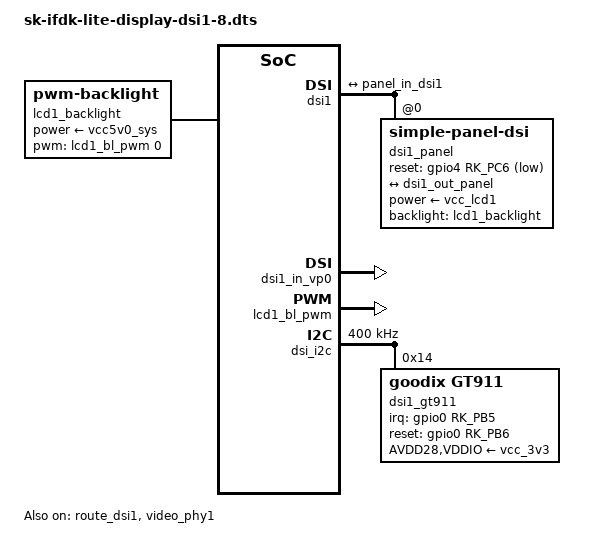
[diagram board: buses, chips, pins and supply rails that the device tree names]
// SPDX-License-Identifier: (GPL-2.0+ OR MIT)
/*
* Copyright (c) 2025 Sergey Kharenko
*/

/dts-v1/;
/plugin/;

#include <dt-bindings/display/drm_mipi_dsi.h>
#include <dt-bindings/display/rockchip_vop.h>
#include <dt-bindings/interrupt-controller/irq.h>
#include <dt-bindings/gpio/gpio.h>
#include <dt-bindings/pinctrl/rockchip.h>

/ {
	metadata {
		title ="Enable SK IFDK Lite Display 8 with Touchpad";
		compatible = "sk,ifdk-lite";
		category = "display";
		exclusive = "dsi1";
		description = "Enable SK IFDK Lite Display 8 with Touchpad.";
	};

    fragment@0 {
		target-path = "/";

        __overlay__ {
            lcd1_backlight: lcd1-backlight {
                compatible = "pwm-backlight";
                brightness-levels = <
                    0  20  20  21  21  22  22  23
                    23  24  24  25  25  26  26  27
                    27  28  28  29  29  30  30  31
                    31  32  32  33  33  34  34  35
                    35  36  36  37  37  38  38  39
                    40  41  42  43  44  45  46  47
                    48  49  50  51  52  53  54  55
                    56  57  58  59  60  61  62  63
                    64  65  66  67  68  69  70  71
                    72  73  74  75  76  77  78  79
                    80  81  82  83  84  85  86  87
                    88  89  90  91  92  93  94  95
                    96  97  98  99 100 101 102 103
                    104 105 106 107 108 109 110 111
                    112 113 114 115 116 117 118 119
                    120 121 122 123 124 125 126 127
                    128 129 130 131 132 133 134 135
                    136 137 138 139 140 141 142 143
                    144 145 146 147 148 149 150 151
                    152 153 154 155 156 157 158 159
                    160 161 162 163 164 165 166 167
                    168 169 170 171 172 173 174 175
                    176 177 178 179 180 181 182 183
                    184 185 186 187 188 189 190 191
                    192 193 194 195 196 197 198 199
                    200 201 202 203 204 205 206 207
                    208 209 210 211 212 213 214 215
                    216 217 218 219 220 221 222 223
                    224 225 226 227 228 229 230 231
                    232 233 234 235 236 237 238 239
                    240 241 242 243 244 245 246 247
                    248 249 250 251 252 253 254 255
                >;
                default-brightness-level = <200>;
                power-supply = <&vcc5v0_sys>;
                pwms = <&lcd1_bl_pwm 0 20000 0>;
            };
        };
    };

    fragment@1 {
        target = <&dsi1>;

        __overlay__ {
            status = "okay";
            #address-cells = <1>;
			#size-cells = <0>;

            dsi1_panel: main-panel@0 {
                compatible = "simple-panel-dsi";
                reg = <0>;
                rotation = <270>;
                power-supply = <&vcc_lcd1>;
                backlight = <&lcd1_backlight>;
                pinctrl-names = "default";
                pinctrl-0 = <&lcd1_rst>;
                reset-gpios = <&gpio4 RK_PC6 GPIO_ACTIVE_LOW>;
                panel-name = "AML08012001920-01";
                reset-delay-ms = <20>;
                enable-delay-ms = <10>;
                prepare-delay-ms = <10>;
                unprepare-delay-ms = <10>;
                disable-delay-ms = <60>;
                init-delay-ms = <200>;
                dsi,flags = <(MIPI_DSI_MODE_VIDEO | MIPI_DSI_MODE_VIDEO_BURST |
                        MIPI_DSI_MODE_LPM | MIPI_DSI_MODE_NO_EOT_PACKET)>;
                dsi,format = <MIPI_DSI_FMT_RGB888>;
                dsi,lanes  = <4>;
                panel-init-sequence = [
                    05 0A 01 10

                    13 00 02 B0 05
                    13 00 02 B3 52
                    13 00 02 B0 01
                    13 00 02 C8 00
                    13 00 02 C9 00
                    13 00 02 CC 26
                    13 00 02 CD 26
                    13 00 02 DC 00
                    13 00 02 DD 00
                    13 00 02 E0 26
                    13 00 02 E1 26
                    13 00 02 B0 03 
                    13 00 02 C3 2A 
                    13 00 02 E7 2A 
                    13 00 02 C5 2A 
                    13 00 02 DE 2A 
                    13 00 02 B0 00
                    13 00 02 B6 03
                    13 00 02 BA 87
                    13 00 02 BD 78
                    13 00 02 BF 15
                    13 00 02 C0 12 
                    13 00 02 C2 0C 
                    13 00 02 C3 02 
                    13 00 02 C4 0C 
                    13 00 02 C5 02
                    13 00 02 B0 06 
                    13 00 02 C0 A5 
                    13 00 02 D5 20
                    13 00 02 C0 00
                    13 00 02 B0 02
                    13 00 02 C0 00
                    13 00 02 C1 02
                    13 00 02 C2 06
                    13 00 02 C3 16 
                    13 00 02 C4 0e 
                    13 00 02 C5 18
                    13 00 02 C6 26
                    13 00 02 C7 32 
                    13 00 02 C8 3F 
                    13 00 02 C9 3F 
                    13 00 02 CA 3F 
                    13 00 02 CB 3F 
                    13 00 02 CC 3D 
                    13 00 02 CD 2F 
                    13 00 02 CE 2F 
                    13 00 02 CF 2F 
                    13 00 02 D0 07
                    13 00 02 D2 00
                    13 00 02 D3 02
                    13 00 02 D4 06

                    13 00 02 D5 12
                    13 00 02 D6 0A
                    13 00 02 D7 14
                    13 00 02 D8 22
                    13 00 02 D9 2E
                    13 00 02 DA 3D
                    13 00 02 DB 3F
                    13 00 02 DC 3F
                    13 00 02 DD 3F
                    13 00 02 DE 3D
                    13 00 02 DF 2F
                    13 00 02 E0 2F
                    13 00 02 E1 2F
                    13 00 02 E2 07
                    13 00 02 B0 07
                    13 00 02 B1 00
                    13 00 02 B2 19
                    13 00 02 B3 31
                    13 00 02 B4 5A
                    13 00 02 B5 7C
                    13 00 02 B6 9C
                    13 00 02 B7 D3
                    13 00 02 B8 0E
                    13 00 02 B9 7D
                    13 00 02 BA E0
                    13 00 02 BB 7A
                    13 00 02 BC E6
                    13 00 02 BD E9
                    13 00 02 BE 41
                    13 00 02 BF 91
                    13 00 02 C0 B0
                    13 00 02 C1 CF
                    13 00 02 C2 DC
                    13 00 02 C3 E9
                    13 00 02 C4 EF
                    13 00 02 C5 F5
                    13 00 02 C6 FA
                    13 00 02 C7 FB
                    13 00 02 C8 FC
                    13 00 02 C9 00
                    13 00 02 CA 01
                    13 00 02 CB 5A
                    13 00 02 CC BF
                    13 00 02 CD FF
                    13 00 02 CE FF
                    13 00 02 B0 08
                    13 00 02 B1 00
                    13 00 02 B2 19
                    13 00 02 B3 31
                    13 00 02 B4 5A
                    13 00 02 B5 7C
                    13 00 02 B6 9C
                    13 00 02 B7 D3

                    13 00 02 B8 0E
                    13 00 02 B9 7D
                    13 00 02 BA E0
                    13 00 02 BB 7A
                    13 00 02 BC E6
                    13 00 02 BD E9
                    13 00 02 BE 41
                    13 00 02 BF 91
                    13 00 02 C0 B0
                    13 00 02 C1 CF
                    13 00 02 C2 DC
                    13 00 02 C3 E9
                    13 00 02 C4 EF
                    13 00 02 C5 F5
                    13 00 02 C6 FA
                    13 00 02 C7 FB
                    13 00 02 C8 FC
                    13 00 02 C9 00
                    13 00 02 CA 01
                    13 00 02 CB 5A
                    13 00 02 CC BF
                    13 00 02 CD FF
                    13 00 02 CE FF
                    13 00 02 B0 09
                    13 00 02 B1 00
                    13 00 02 B2 19
                    13 00 02 B3 31
                    13 00 02 B4 5A
                    13 00 02 B5 7C
                    13 00 02 B6 9C
                    13 00 02 B7 D3
                    13 00 02 B8 0E
                    13 00 02 B9 7D
                    13 00 02 BA E0
                    13 00 02 BB 7A
                    13 00 02 BC E6
                    13 00 02 BD E9
                    13 00 02 BE 41
                    13 00 02 BF 91
                    13 00 02 C0 B0
                    13 00 02 C1 CF
                    13 00 02 C2 DC
                    13 00 02 C3 E9
                    13 00 02 C4 EF
                    13 00 02 C5 F5
                    13 00 02 C6 FA
                    13 00 02 C7 FB
                    13 00 02 C8 FC
                    13 00 02 C9 00
                    13 00 02 CA 01
                    13 00 02 CB 5A
                    13 00 02 CC BF
                    13 00 02 CD FF
                    13 00 02 CE FF

                    13 00 02 B0 0A
                    13 00 02 B1 00
                    13 00 02 B2 19
                    13 00 02 B3 31
                    13 00 02 B4 5A
                    13 00 02 B5 7C
                    13 00 02 B6 9C
                    13 00 02 B7 D3
                    13 00 02 B8 0E
                    13 00 02 B9 7D
                    13 00 02 BA E0
                    13 00 02 BB 7A
                    13 00 02 BC E6
                    13 00 02 BD E9
                    13 00 02 BE 41
                    13 00 02 BF 91
                    13 00 02 C0 B0
                    13 00 02 C1 CF
                    13 00 02 C2 DC
                    13 00 02 C3 E9
                    13 00 02 C4 EF
                    13 00 02 C5 F5
                    13 00 02 C6 FA
                    13 00 02 C7 FC
                    13 00 02 C8 FC
                    13 00 02 C9 00
                    13 00 02 CA 01
                    13 00 02 CB 5A
                    13 00 02 CC BF
                    13 00 02 CD FF
                    13 00 02 CE FF
                    13 00 02 B0 0B
                    13 00 02 B1 00
                    13 00 02 B2 19
                    13 00 02 B3 31
                    13 00 02 B4 5A
                    13 00 02 B5 7C
                    13 00 02 B6 9C
                    13 00 02 B7 D3
                    13 00 02 B8 0E
                    13 00 02 B9 7D
                    13 00 02 BA E0
                    13 00 02 BB 7A
                    13 00 02 BC E6
                    13 00 02 BD E9
                    13 00 02 BE 41
                    13 00 02 BF 91
                    13 00 02 C0 B0
                    13 00 02 C1 CF
                    13 00 02 C2 DC
                    13 00 02 C3 E9
                    13 00 02 C4 EF
                    13 00 02 C5 F5
                    13 00 02 C6 FA

                    13 00 02 C7 FC
                    13 00 02 C8 FC
                    13 00 02 C9 00
                    13 00 02 CA 01
                    13 00 02 CB 5A
                    13 00 02 CC BF
                    13 00 02 CD FF
                    13 00 02 CE FF
                    13 00 02 B0 0C
                    13 00 02 B1 00
                    13 00 02 B2 19
                    13 00 02 B3 31
                    13 00 02 B4 5A
                    13 00 02 B5 7C
                    13 00 02 B6 9C
                    13 00 02 B7 D3
                    13 00 02 B8 0E
                    13 00 02 B9 7D
                    13 00 02 BA E0
                    13 00 02 BB 7A
                    13 00 02 BC E6
                    13 00 02 BD E9
                    13 00 02 BE 41
                    13 00 02 BF 91
                    13 00 02 C0 B0
                    13 00 02 C1 CF
                    13 00 02 C2 DC
                    13 00 02 C3 E9
                    13 00 02 C4 EF
                    13 00 02 C5 F5
                    13 00 02 C6 FA
                    13 00 02 C7 FC
                    13 00 02 C8 FC
                    13 00 02 C9 00
                    13 00 02 CA 01
                    13 00 02 CB 5A
                    13 00 02 CC BF
                    13 00 02 CD FF
                    13 0A 02 CE FF

                    05 64 01 11
                    05 32 01 29
                ];
                panel-exit-sequence = [
                    05 00 01 28
                    05 00 01 10
                ];
                display-timings {
                    native-mode = <&dsi1_timing0>;
                    dsi1_timing0: timing0 {
                        clock-frequency = <156800000>;
                        hactive = <1200>;
                        vactive = <1920>;
                        hfront-porch = <110>;
                        hsync-len = <1>;
                        hback-porch = <32>;
                        vfront-porch = <11>;
                        vsync-len = <1>;
                        vback-porch = <14>;
                        hsync-active = <0>;
                        vsync-active = <0>;
                        de-active = <0>;
                        pixelclk-active = <1>;
                    };
                };
                ports {
                    #address-cells = <1>;
                    #size-cells = <0>;
                    port@0 {
                        reg = <0>;
                        panel_in_dsi1: endpoint {
                            remote-endpoint = <&dsi1_out_panel>;
                        };
                    };
                };
            };

            ports {
                #address-cells = <1>;
                #size-cells = <0>;

                dsi1_out: port@1 {
                    reg = <1>;
                    dsi1_out_panel: endpoint {
                        remote-endpoint = <&panel_in_dsi1>;
                    };
                };
            };
        };
    };

    fragment@2 {
        target = <&dsi1_in_vp0>;

        __overlay__ {
            status = "okay";
        };
    };

    fragment@3 {
        target = <&lcd1_bl_pwm>;

        __overlay__ {
            status = "okay";
        };
    };

    fragment@4 {
        target = <&route_dsi1>;

        __overlay__ {
            status = "okay";
        };
    };

    fragment@5 {
        target = <&video_phy1>;

        __overlay__ {
            status = "okay";
        };
    };
    
    fragment@6 {
        target = <&dsi_i2c>;

        __overlay__ {
            status = "okay";
            clock-frequency = <400000>;
            #address-cells = <1>;
            #size-cells = <0>;

            dsi1_gt911: dsi1-gt911@14 {
                compatible = "goodix,gt911";
                reg = <0x14>;
                AVDD28-supply = <&vcc_3v3>;
                VDDIO-supply = <&vcc_3v3>;
                pinctrl-names = "default";
                pinctrl-0 = <&touch_gpio>;
                interrupts = <RK_PB5 IRQ_TYPE_EDGE_FALLING>;
                interrupt-parent = <&gpio0>;
                irq-gpios = <&gpio0 RK_PB5 GPIO_ACTIVE_HIGH>;
                reset-gpios = <&gpio0 RK_PB6 GPIO_ACTIVE_HIGH>;
                touchscreen-size-x = <1200>;
                touchscreen-size-y = <1920>;
            };
        };
    };
};
